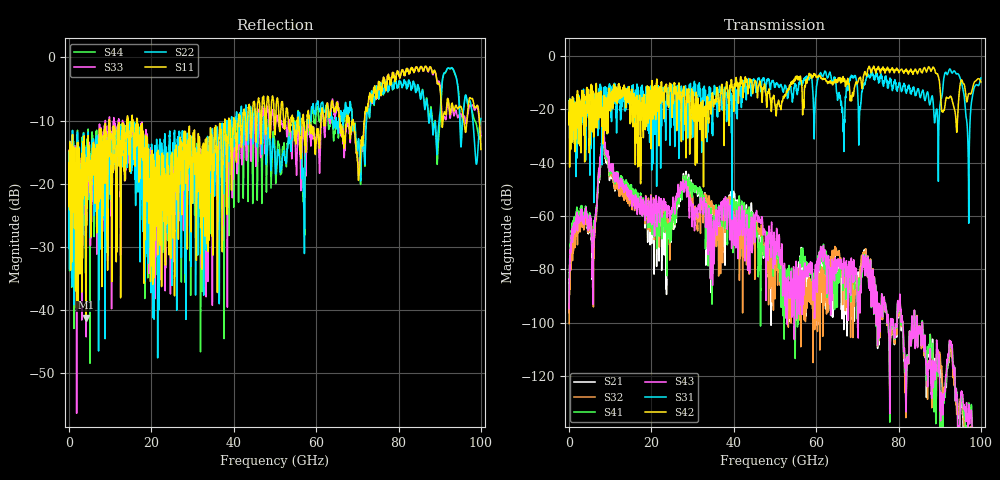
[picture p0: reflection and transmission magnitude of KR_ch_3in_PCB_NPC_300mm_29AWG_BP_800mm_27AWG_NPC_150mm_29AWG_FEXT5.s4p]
# GHz S RI R 45
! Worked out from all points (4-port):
!   4000 points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, 25 MHz to 100 GHz, reference 45 ohm
!   strongest paths, dB at 25 MHz, 25.02 GHz, 50.02 GHz, 75.03 GHz, 100 GHz:
!     S42: -21.2, -20.7, -18.6, -4.1, -9.8
!     S31: -21.3, -12.1, -11.5, -8.0, -8.3
!     S43: -94.7, -58.5, -72.8, -94.6, -158.5
!     S41: -92.2, -62.3, -71.0, -94.8, -150.9
!     S32: -100.3, -63.0, -83.5, -95.3, -162.7
!     S21: -96.2, -60.9, -74.2, -95.6, -162.4
!   lowest |S11| = -41.3 dB at 4.075 GHz (marker M1), VSWR 1.02, Z = 44.6 - j0.641 ohm
!   |S11| at or under -10 dB: start of sweep to 9.799 GHz; 9.805 GHz to 14.12 GHz (4.315 GHz wide, 36.1 % of centre); 16.58 GHz to 37.83 GHz (21.26 GHz wide, 78.1 % of centre) (the widest 3 of 43)
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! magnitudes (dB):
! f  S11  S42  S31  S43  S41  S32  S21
! 25 MHz  -16.7  -21.2  -21.3  -94.7  -92.2  -100.3  -96.2
! 4.075 GHz  -41.3  -21.9  -35.0  -57.4  -56.6  -59.3  -59.0
! 8.375 GHz  -12.8  -19.1  -17.5  -28.2  -29.8  -29.5  -31.2
! 23.27 GHz  -24.1  -11.9  -24.6  -56.2  -59.1  -61.7  -61.0
! 28.6 GHz  -15.4  -13.1  -16.5  -52.7  -50.5  -50.4  -49.2
! 49.15 GHz  -7.3  -20.6  -10.1  -62.8  -67.8  -75.9  -80.7
! 100 GHz  -14.6  -9.8  -8.3  -158.5  -150.9  -162.7  -162.4
